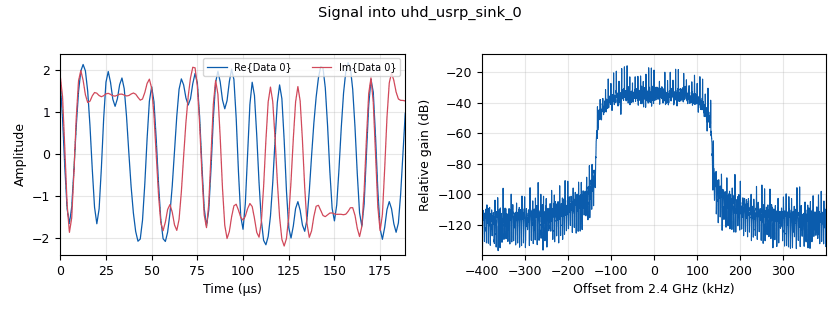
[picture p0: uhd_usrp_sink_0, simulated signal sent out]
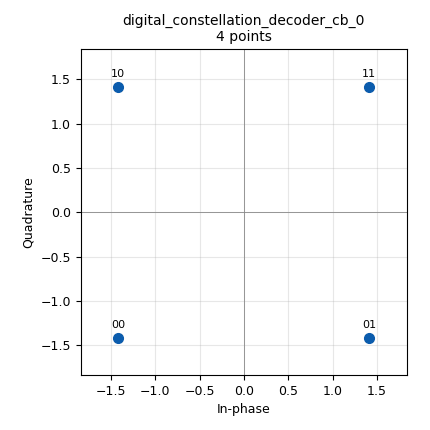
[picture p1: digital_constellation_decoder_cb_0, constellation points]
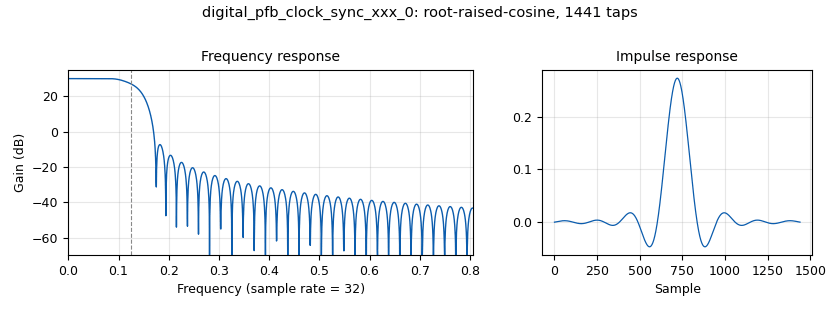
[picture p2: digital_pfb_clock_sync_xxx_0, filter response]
options:
  parameters:
    author: Naoki Sean Pross, Sara Cinzia Halter
    generate_options: qt_gui
    id: qpsk_hw
    output_language: python
    realtime_scheduling: '1'
    run_options: run
    title: QPSK Hardware
  states: {}

blocks:
- name: access_code_symbols
  id: variable
  parameters:
    value: 2* np.array([(-0.7071067811865475-0.7071067811865475j), (0.7071067811865475-0.7071067811865475j), (0.7071067811865475+0.7071067811865475j), (0.7071067811865475+0.7071067811865475j), (-0.7071067811865475-0.7071067811865475j), (0.7071067811865475+0.7071067811865475j), (0.7071067811865475-0.7071067811865475j), (0.7071067811865475-0.7071067811865475j)])
  states: {}
- name: excess_bw
  id: variable
  parameters:
    value: '0.35'
  states: {}
- name: frame
  id: fadingui_frame_obj
  parameters:
    payload_len: '4096'
    preamble: '[0xbe, 0xef]'
  states: {state: disabled}
- name: frame_len
  id: variable
  parameters:
    value: len(testvec) +4
  states: {}
- name: nfilts
  id: variable
  parameters:
    value: '32'
  states: {}
- name: qpsk_const
  id: variable_constellation
  parameters:
    precision: '8'
    type: qpsk
  states: {}
- name: rrc_taps
  id: variable
  parameters:
    value: firdes.root_raised_cosine(nfilts, nfilts, 1.0/float(sps), excess_bw, 45*nfilts)
  states: {}
- name: samp_rate
  id: variable
  parameters:
    value: 800e3
  states: {}
- name: sps
  id: variable
  parameters:
    value: '4'
  states: {}
- name: testvec
  id: variable
  parameters:
    value: '[0x1f, 0x35] + [0x12, 0x48] '
  states: {}
- name: analog_random_source_x_0
  id: analog_random_source_x
  parameters:
    max: '255'
    min: '0'
    num_samps: '400'
    repeat: 'True'
    type: byte
  states: {}
- name: blocks_complex_to_mag_0
  id: blocks_complex_to_mag
  parameters: {}
  states: {}
- name: blocks_file_sink_0
  id: blocks_file_sink
  parameters:
    file: data/channel_qpsk_hw.dat
    type: complex
  states: {state: disabled}
- name: blocks_file_sink_1
  id: blocks_file_sink
  parameters:
    file: data/synchronized_qpsk_hw.dat
    type: complex
  states: {state: disabled}
- name: blocks_file_sink_2
  id: blocks_file_sink
  parameters:
    file: data/equalized_qpsk_hw.dat
    type: complex
  states: {state: disabled}
- name: blocks_file_sink_3
  id: blocks_file_sink
  parameters:
    file: data/locked_qpsk_hw.dat
    type: complex
  states: {state: disabled}
- name: blocks_repack_bits_bb_0
  id: blocks_repack_bits_bb
  parameters:
    endianness: gr.GR_LSB_FIRST
    k: '2'
    l: '8'
  states: {}
- name: blocks_stream_mux_0
  id: blocks_stream_mux
  parameters:
    lengths: '[len(testvec), 4]'
    type: byte
  states: {}
- name: blocks_stream_to_vector_0
  id: blocks_stream_to_vector
  parameters:
    num_items: frame_len
    type: byte
  states: {}
- name: blocks_tagged_stream_align_0
  id: blocks_tagged_stream_align
  parameters:
    lengthtagname: frame_start
    type: byte
  states: {}
- name: blocks_vector_source_x_0
  id: blocks_vector_source_x
  parameters:
    repeat: 'True'
    type: byte
    vector: testvec
  states: {}
- name: digital_cma_equalizer_cc_0
  id: digital_cma_equalizer_cc
  parameters:
    modulus: '1'
    mu: '2e-3'
    num_taps: '15'
    sps: '1'
  states: {state: disabled}
- name: digital_constellation_decoder_cb_0
  id: digital_constellation_decoder_cb
  parameters:
    constellation: qpsk_const
  states: {}
- name: digital_constellation_modulator_0
  id: digital_constellation_modulator
  parameters:
    constellation: qpsk_const
    differential: 'False'
    excess_bw: excess_bw
    samples_per_symbol: sps
  states: {}
- name: digital_corr_est_cc_0
  id: digital_corr_est_cc
  parameters:
    mark_delay: len(access_code_symbols) // 2
    sps: '1'
    symbols: access_code_symbols
    threshold: '0.65'
    threshold_method: digital.THRESHOLD_ABSOLUTE
  states: {}
- name: digital_lms_dd_equalizer_cc_0
  id: digital_lms_dd_equalizer_cc
  parameters:
    cnst: qpsk_const
    mu: '3e-3'
    num_taps: '15'
    sps: '1'
  states: {}
- name: digital_pfb_clock_sync_xxx_0
  id: digital_pfb_clock_sync_xxx
  parameters:
    filter_size: '32'
    init_phase: '16'
    loop_bw: 2 * np.pi / 100
    max_dev: '1.5'
    osps: '1'
    sps: sps
    taps: rrc_taps
    type: ccf
  states: {}
- name: fadingui_ber_0
  id: fadingui_ber
  parameters:
    address: udp://localhost:31420
    vgl: testvec + list(np.zeros(4))
    vlen: frame_len
  states: {}
- name: fadingui_datasource_0
  id: fadingui_datasource
  parameters:
    fname: ''
    frame_obj: ''
  states: {state: disabled}
- name: fadingui_netsink_0
  id: fadingui_netsink
  parameters:
    address: udp://localhost:31415
    type: complex
    veclen: '1'
  states: {state: disabled}
- name: fadingui_netsink_1
  id: fadingui_netsink
  parameters:
    address: udp://localhost:31418
    type: complex
    veclen: '1'
  states: {state: disabled}
- name: fadingui_netsink_3
  id: fadingui_netsink
  parameters:
    address: udp://localhost:31419
    type: complex
    veclen: '1'
  states: {state: disabled}
- name: fadingui_netsink_4
  id: fadingui_netsink
  parameters:
    address: udp://localhost:31417
    type: complex
    veclen: '1'
  states: {state: disabled}
- name: fadingui_netsink_4_0
  id: fadingui_netsink
  parameters:
    address: udp://localhost:31416
    type: complex
    veclen: '1'
  states: {state: disabled}
- name: fadingui_phasecorrection_0
  id: fadingui_phasecorrection
  parameters:
    frame_len: frame_len
  states: {}
- name: import_0
  id: import
  parameters:
    imports: import numpy as np
  states: {}
- name: qtgui_const_sink_x_0_0
  id: qtgui_const_sink_x
  parameters:
    color3: '"dark green"'
    label1: Synchronized
    label2: Equalized
    label3: Looked
    nconnections: '3'
    size: '1024'
    type: complex
  states: {}
- name: qtgui_time_sink_x_0
  id: qtgui_time_sink_x
  parameters:
    size: '1024'
    srate: samp_rate / sps
    type: float
    ymax: '10'
    ymin: '0'
  states: {}
- name: uhd_usrp_sink_0
  id: uhd_usrp_sink
  parameters:
    ant0: TX/RX
    center_freq0: 2.4e9
    clock_source0: external
    dev_addr: '"serial=309AF59  "'
    dev_args: '""'
    gain0: '0.4'
    len_tag_name: ''
    norm_gain0: 'True'
    samp_rate: samp_rate
    sync: sync
    type: fc32
  states: {}
- name: uhd_usrp_source_0
  id: uhd_usrp_source
  parameters:
    ant0: RX2
    center_freq0: 2.4e9
    clock_source0: external
    dc_offs_enb0: '""'
    dev_addr: '"serial=309AF6A  "'
    dev_args: '""'
    gain0: '1'
    iq_imbal_enb0: '""'
    norm_gain0: 'True'
    rx_agc0: Disabled
    samp_rate: samp_rate
    sync: sync
    type: fc32
  states: {}
- name: virtual_sink_0
  id: virtual_sink
  parameters:
    stream_id: modulated
  states: {}
- name: virtual_sink_1
  id: virtual_sink
  parameters:
    stream_id: envelope
  states: {}
- name: virtual_sink_2
  id: virtual_sink
  parameters:
    stream_id: symbols
  states: {}
- name: virtual_source_0
  id: virtual_source
  parameters:
    stream_id: symbols
  states: {}
- name: virtual_source_1
  id: virtual_source
  parameters:
    stream_id: envelope
  states: {}
- name: virtual_source_2
  id: virtual_source
  parameters:
    stream_id: modulated
  states: {}

connections:
- [analog_random_source_x_0, '0', blocks_stream_mux_0, '1']
- [blocks_complex_to_mag_0, '0', qtgui_time_sink_x_0, '0']
- [blocks_repack_bits_bb_0, '0', blocks_stream_to_vector_0, '0']
- [blocks_stream_mux_0, '0', digital_constellation_modulator_0, '0']
- [blocks_stream_to_vector_0, '0', fadingui_ber_0, '0']
- [blocks_tagged_stream_align_0, '0', blocks_repack_bits_bb_0, '0']
- [blocks_vector_source_x_0, '0', blocks_stream_mux_0, '0']
- [digital_cma_equalizer_cc_0, '0', digital_corr_est_cc_0, '0']
- [digital_cma_equalizer_cc_0, '0', fadingui_netsink_1, '0']
- [digital_cma_equalizer_cc_0, '0', qtgui_const_sink_x_0_0, '1']
- [digital_constellation_decoder_cb_0, '0', blocks_tagged_stream_align_0, '0']
- [digital_constellation_modulator_0, '0', fadingui_netsink_0, '0']
- [digital_constellation_modulator_0, '0', virtual_sink_0, '0']
- [digital_corr_est_cc_0, '0', fadingui_phasecorrection_0, '0']
- [digital_corr_est_cc_0, '1', blocks_complex_to_mag_0, '0']
- [digital_lms_dd_equalizer_cc_0, '0', blocks_file_sink_2, '0']
- [digital_lms_dd_equalizer_cc_0, '0', digital_corr_est_cc_0, '0']
- [digital_lms_dd_equalizer_cc_0, '0', fadingui_netsink_1, '0']
- [digital_lms_dd_equalizer_cc_0, '0', qtgui_const_sink_x_0_0, '1']
- [digital_pfb_clock_sync_xxx_0, '0', blocks_file_sink_1, '0']
- [digital_pfb_clock_sync_xxx_0, '0', digital_cma_equalizer_cc_0, '0']
- [digital_pfb_clock_sync_xxx_0, '0', digital_lms_dd_equalizer_cc_0, '0']
- [digital_pfb_clock_sync_xxx_0, '0', fadingui_netsink_4, '0']
- [digital_pfb_clock_sync_xxx_0, '0', qtgui_const_sink_x_0_0, '0']
- [fadingui_datasource_0, '0', digital_constellation_modulator_0, '0']
- [fadingui_phasecorrection_0, '0', blocks_file_sink_3, '0']
- [fadingui_phasecorrection_0, '0', fadingui_netsink_3, '0']
- [fadingui_phasecorrection_0, '0', qtgui_const_sink_x_0_0, '2']
- [fadingui_phasecorrection_0, '0', virtual_sink_2, '0']
- [uhd_usrp_source_0, '0', blocks_file_sink_0, '0']
- [uhd_usrp_source_0, '0', fadingui_netsink_4_0, '0']
- [uhd_usrp_source_0, '0', virtual_sink_1, '0']
- [virtual_source_0, '0', digital_constellation_decoder_cb_0, '0']
- [virtual_source_1, '0', digital_pfb_clock_sync_xxx_0, '0']
- [virtual_source_2, '0', uhd_usrp_sink_0, '0']

metadata:
  file_format: 1
